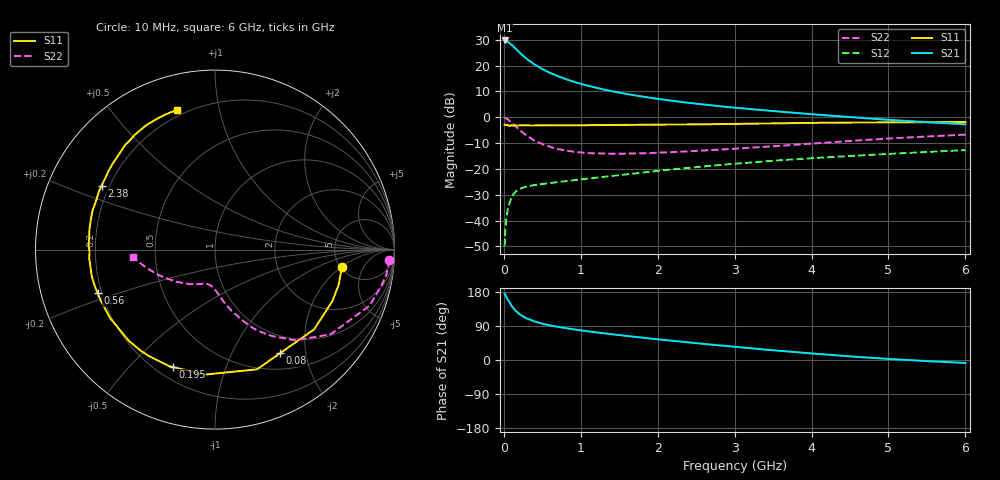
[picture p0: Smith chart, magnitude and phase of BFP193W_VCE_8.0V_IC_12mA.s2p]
! Infineon Technologies  Discrete & RF Semiconductors
! BFP193W
! VCE = 8.0 V,  IC =  12 mA
! Common Emitter S-Parameters:  Jan 2016
# GHz  S  MA  R  50
!  f  S11  S21  S12  S22
! GHz  MAG  ANG  MAG  ANG  MAG  ANG  MAG  ANG
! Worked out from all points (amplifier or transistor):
!   210 points, 10 MHz to 6 GHz, reference 50 ohm
!   highest |S21| = 29.7 dB at 10 MHz (marker M1)
!   |S21| within 3 dB of that: start of sweep to 146.2 MHz
!   unconditionally stable (mu >= 1): 1.272 GHz to 4.403 GHz
!   at 185 MHz: K = 0.23, MSG = 26.9 dB, |S12| = -28.2 dB
!   at 1.52 GHz: K = 1.06, MAG = 14.3 dB, |S12| = -22.3 dB
!   at 6 GHz: K = 0.93, MSG = 5.0 dB, |S12| = -12.7 dB
!   S11 on the Smith chart (normalised r, x): 10 MHz: 5.15, -2.03; 80 MHz: 0.72, -1.56; 195 MHz: 0.26, -0.67; 560 MHz: 0.18, -0.17; 2.38 GHz: 0.17, +0.26; 6 GHz: 0.17, +0.75
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0.01  0.7136 -7.8  30.64 174.7  0.0032 87.7  0.9724 -3.3
0.02  0.7165 -16.0  30.52 171.4  0.0069 80.9  0.9653 -8.4
0.03  0.7139 -23.8  30.23 167.5  0.0103 79.7  0.9483 -12.3
0.05  0.7088 -38.8  29.15 159.7  0.016 73.3  0.9155 -20.0
0.08  0.6816 -58.0  26.6 150.3  0.0233 62.6  0.8379 -29.1
0.1  0.7071 -70.7  25.36 143.1  0.0284 58.6  0.7996 -36.0
0.15  0.6988 -94.7  21.43 130.4  0.036 49.3  0.6767 -48.4
0.195  0.6952 -109.9  18.34 122.4  0.04 43.7  0.5845 -55.8
0.24  0.6978 -121.5  15.94 116.1  0.0431 39.7  0.5132 -61.9
0.3  0.6992 -133.4  13.34 109.4  0.0459 36.8  0.4347 -67.9
0.4  0.6977 -146.7  10.46 101.5  0.0489 34.1  0.353 -74.9
0.5  0.697 -155.7  8.559 95.7  0.0511 33.5  0.3014 -79.8
0.56  0.6974 -159.7  7.744 93.2  0.0524 33.9  0.2804 -82.0
0.8  0.6997 -172.0  5.491 84.1  0.0578 35.8  0.2271 -89.1
1.02  0.7001 -179.5  4.341 77.8  0.063 38.5  0.2069 -94.5
1.4  0.7087 170.5  3.203 68.0  0.0731 42.4  0.1971 -101.6
2.02  0.7168 157.1  2.248 54.2  0.0923 45.8  0.2071 -111.9
2.38  0.7256 150.6  1.918 46.8  0.104 46.5  0.2195 -118.1
3.1  0.747 138.4  1.486 33.1  0.1295 45.8  0.2516 -131.4
4.1  0.7819 123.8  1.115 15.9  0.1645 42.1  0.3164 -150.0
5.1  0.7983 112.8  0.873 1.8  0.1987 37.3  0.3949 -165.3
6  0.8072 105.3  0.73 -7.9  0.231 32.9  0.4605 -175.2
